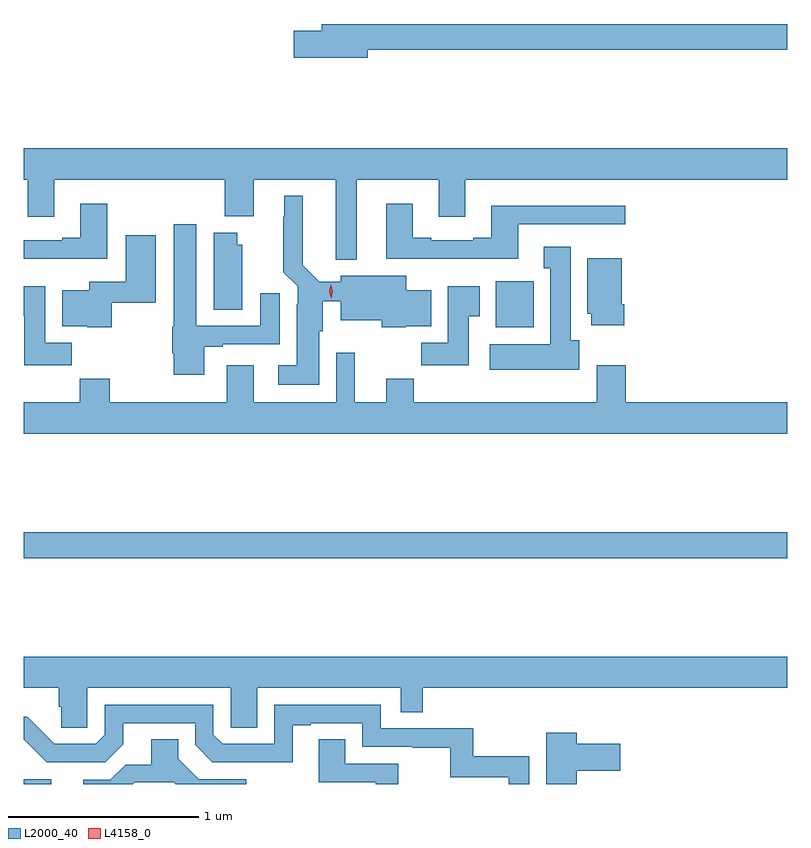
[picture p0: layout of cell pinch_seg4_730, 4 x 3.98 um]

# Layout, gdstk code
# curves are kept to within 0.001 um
import gdstk
lib = gdstk.Library(unit=1e-6, precision=1e-09)
def R(c, l, rs):  # rectangles x0, y0, x1, y1
    for r in rs: c.add(gdstk.rectangle(r[:2], r[2:], *l))
def P(c, l, *ps):  # polygons
    for p in ps: c.add(gdstk.Polygon(p, *l))
L2000_40 = (2000, 40)
L4158_0 = (4158, 0)

pinch_seg4_730 = lib.new_cell('pinch_seg4_730')
R(pinch_seg4_730, L2000_40, [(879.207,828.284,879.349,828.309), (879.207,829.468,883.207,829.604), (881.681,830.678,881.878,830.92)])
P(pinch_seg4_730, L2000_40, [(881.008,832.132),(883.207,832.132),(883.207,832.268),(880.769,832.268),(880.769,832.232),(880.62,832.232),(880.62,832.09),(881.008,832.09)],
  [(880.951,831.452),(881.381,831.452),(881.381,831.258),(881.521,831.258),(881.521,831.452),(883.207,831.452),(883.207,831.616),(879.207,831.616),(879.207,831.452),(879.227,831.452),(879.227,831.258),(879.367,831.258),(879.367,831.452),(880.259,831.452),(880.259,831.26),(880.411,831.26),(880.411,831.452),(880.841,831.452),(880.841,831.032),(880.951,831.032)],
  [(880.756,830.658),(880.774,830.658),(880.774,830.815),(880.868,830.815),(880.868,830.714),(881.083,830.714),(881.083,830.678),(881.208,830.678),(881.208,830.684),(881.341,830.684),(881.341,830.872),(881.212,830.872),(881.212,830.947),(880.868,830.947),(880.868,830.916),(880.756,830.916),(880.669,831.004),(880.669,831.367),(880.571,831.367),(880.571,831.257),(880.567,831.257),(880.567,830.966),(880.641,830.892),(880.641,830.798),(880.637,830.798),(880.637,830.479),(880.539,830.479),(880.539,830.378),(880.756,830.378)],
  [(881.797,831.219),(882.358,831.219),(882.358,831.316),(881.657,831.316),(881.657,831.148),(881.561,831.148),(881.561,831.135),(881.341,831.135),(881.341,831.148),(881.245,831.148),(881.245,831.325),(881.105,831.325),(881.105,831.038),(881.797,831.038)],
  [(879.643,831.325),(879.503,831.325),(879.503,831.148),(879.407,831.148),(879.407,831.135),(879.207,831.135),(879.207,831.038),(879.643,831.038)],
  [(880.153,830.577),(880.249,830.577),(880.249,830.589),(880.549,830.589),(880.549,830.857),(880.445,830.857),(880.445,830.685),(880.111,830.685),(880.111,831.217),(879.992,831.217),(879.992,830.682),(879.985,830.682),(879.985,830.542),(879.992,830.542),(879.992,830.43),(880.153,830.43)],
  [(880.351,831.111),(880.324,831.111),(880.324,831.175),(880.202,831.175),(880.202,830.77),(880.351,830.77)],
  [(879.666,830.807),(879.898,830.807),(879.898,831.16),(879.74,831.16),(879.74,830.917),(879.548,830.917),(879.548,830.872),(879.407,830.872),(879.407,830.684),(879.54,830.684),(879.54,830.678),(879.666,830.678)],
  [(882.118,830.61),(882.073,830.61),(882.073,831.1),(881.933,831.1),(881.933,830.987),(881.966,830.987),(881.966,830.59),(881.649,830.59),(881.649,830.456),(882.118,830.456)],
  [(882.353,830.8),(882.34,830.8),(882.34,831.04),(882.161,831.04),(882.161,830.748),(882.182,830.748),(882.182,830.688),(882.353,830.688)],
  [(881.539,830.737),(881.596,830.737),(881.596,830.893),(881.429,830.893),(881.429,830.596),(881.29,830.596),(881.29,830.478),(881.539,830.478)],
  [(879.458,830.596),(879.319,830.596),(879.319,830.893),(879.207,830.893),(879.207,830.737),(879.209,830.737),(879.209,830.478),(879.458,830.478)],
  [(883.207,830.284),(882.362,830.284),(882.362,830.479),(882.209,830.479),(882.209,830.284),(881.249,830.284),(881.249,830.408),(881.105,830.408),(881.105,830.284),(880.942,830.284),(880.942,830.545),(880.845,830.545),(880.845,830.284),(880.411,830.284),(880.411,830.479),(880.271,830.479),(880.271,830.284),(879.656,830.284),(879.656,830.408),(879.499,830.408),(879.499,830.284),(879.207,830.284),(879.207,830.12),(883.207,830.12)],
  [(879.54,828.788),(880.29,828.788),(880.29,828.58),(880.429,828.58),(880.429,828.788),(881.181,828.788),(881.181,828.661),(881.297,828.661),(881.297,828.788),(883.207,828.788),(883.207,828.952),(879.207,828.952),(879.207,828.788),(879.389,828.788),(879.389,828.69),(879.403,828.69),(879.403,828.58),(879.54,828.58)],
  [(881.856,828.43),(881.563,828.43),(881.563,828.576),(881.076,828.576),(881.076,828.699),(880.518,828.699),(880.518,828.495),(880.248,828.495),(880.2,828.543),(880.2,828.699),(879.63,828.699),(879.63,828.543),(879.582,828.495),(879.366,828.495),(879.224,828.637),(879.207,828.637),(879.207,828.519),(879.327,828.399),(879.633,828.399),(879.727,828.493),(879.727,828.603),(880.104,828.603),(880.104,828.489),(880.194,828.399),(880.615,828.398),(880.615,828.591),(880.711,828.591),(880.711,828.603),(880.98,828.603),(880.98,828.48),(881.245,828.48),(881.245,828.475),(881.442,828.475),(881.442,828.32),(881.747,828.32),(881.747,828.284),(881.856,828.284)],
  [(882.106,828.353),(882.334,828.353),(882.334,828.495),(882.106,828.495),(882.106,828.553),(881.945,828.553),(881.945,828.284),(882.106,828.284)],
  [(879.787,828.294),(879.993,828.294),(880.003,828.284),(880.372,828.284),(880.372,828.309),(880.122,828.309),(880.015,828.416),(880.015,828.518),(879.875,828.518),(879.875,828.386),(879.74,828.386),(879.66,828.306),(879.519,828.306),(879.519,828.284),(879.777,828.284)],
  [(881.168,828.39),(880.891,828.39),(880.891,828.518),(880.751,828.518),(880.751,828.294),(881.052,828.294),(881.052,828.284),(881.168,828.284)])
P(pinch_seg4_730, L4158_0, [(880.817,830.831),(880.817,830.831),(880.806,830.866),(880.815,830.901),(880.815,830.901),(880.815,830.901),(880.826,830.866),(880.818,830.831)])

lib.write_gds('pinch_seg4_730.gds')
